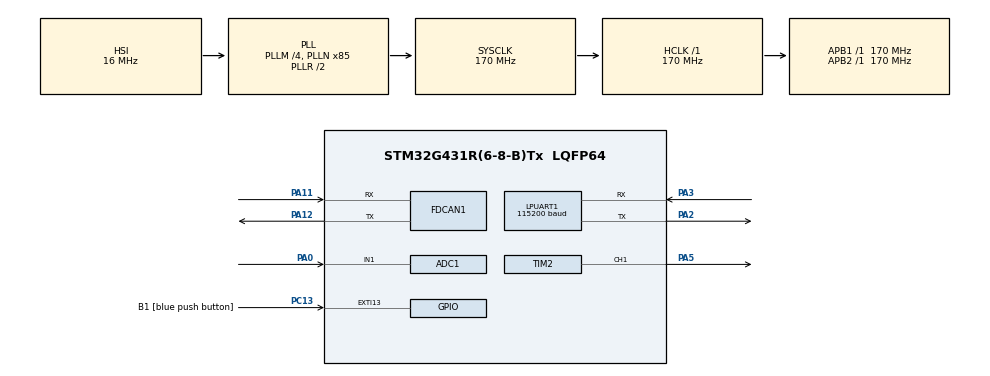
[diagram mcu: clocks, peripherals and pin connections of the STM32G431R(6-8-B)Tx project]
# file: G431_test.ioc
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ADC1.Channel-0\#ChannelRegularConversion=ADC_CHANNEL_1
ADC1.ClockPrescaler=ADC_CLOCK_ASYNC_DIV4
ADC1.ContinuousConvMode=ENABLE
ADC1.DMAContinuousRequests=ENABLE
ADC1.DataAlign=ADC_DATAALIGN_RIGHT
ADC1.EOCSelection=ADC_EOC_SINGLE_CONV
ADC1.LowPowerAutoWait=DISABLE
ADC1.NbrOfConversion=1
ADC1.NbrOfConversionFlag=1
ADC1.OffsetNumber-0\#ChannelRegularConversion=ADC_OFFSET_NONE
ADC1.OversamplingMode=DISABLE
ADC1.Rank-0\#ChannelRegularConversion=1
ADC1.SamplingTime-0\#ChannelRegularConversion=ADC_SAMPLETIME_92CYCLES_5
ADC1.master=1
Dma.ADC1.0.Direction=DMA_PERIPH_TO_MEMORY
Dma.ADC1.0.EventEnable=DISABLE
Dma.ADC1.0.Instance=DMA1_Channel1
Dma.ADC1.0.MemDataAlignment=DMA_MDATAALIGN_HALFWORD
Dma.ADC1.0.MemInc=DMA_MINC_ENABLE
Dma.ADC1.0.Mode=DMA_CIRCULAR
Dma.ADC1.0.PeriphDataAlignment=DMA_PDATAALIGN_HALFWORD
Dma.ADC1.0.PeriphInc=DMA_PINC_DISABLE
Dma.ADC1.0.Polarity=HAL_DMAMUX_REQ_GEN_RISING
Dma.ADC1.0.Priority=DMA_PRIORITY_LOW
Dma.ADC1.0.RequestNumber=1
Dma.ADC1.0.SignalID=NONE
Dma.ADC1.0.SyncEnable=DISABLE
Dma.ADC1.0.SyncPolarity=HAL_DMAMUX_SYNC_NO_EVENT
Dma.ADC1.0.SyncRequestNumber=1
Dma.ADC1.0.SyncSignalID=NONE
Dma.Request0=ADC1
FDCAN1.ClockDivider=FDCAN_CLOCK_DIV1
FDCAN1.DataTimeSeg1=11
FDCAN1.DataTimeSeg2=4
FDCAN1.Mode=FDCAN_MODE_EXTERNAL_LOOPBACK
FDCAN1.NominalPrescaler=6
LPUART1.BaudRate=115200
LPUART1.WordLength=UART_WORDLENGTH_8B
Mcu.Family=STM32G4
Mcu.Name=STM32G431R(6-8-B)Tx
Mcu.Package=LQFP64
NVIC.DMA1_Channel1_IRQn=true\:1\:0\:true\:false\:true\:false\:true
NVIC.FDCAN1_IT0_IRQn=true\:2\:0\:true\:false\:true\:true\:true
NVIC.FDCAN1_IT1_IRQn=true\:3\:0\:true\:false\:true\:true\:true
NVIC.PriorityGroup=NVIC_PRIORITYGROUP_4
PA0.Mode=IN1-Single-Ended
PA0.Signal=ADC1_IN1
PA11.Mode=FDCANFD
PA11.Signal=FDCAN1_RX
PA12.Mode=FDCANFD
PA12.Signal=FDCAN1_TX
PA13.GPIO_Label=T_SWDIO
PA13.Mode=Serial_Wire
PA13.Signal=SYS_JTMS-SWDIO
PA14.GPIO_Label=T_SWCLK
PA14.Mode=Serial_Wire
PA14.Signal=SYS_JTCK-SWCLK
PA2.Mode=Asynchronous
PA2.Signal=LPUART1_TX
PA3.Mode=Asynchronous
PA3.Signal=LPUART1_RX
PA5.Signal=S_TIM2_CH1
PB3.GPIO_Label=T_SWO
PB3.Signal=SYS_JTDO-SWO
PC13.GPIO_Label=B1 [blue push button]
PC13.Signal=GPXTI13
PC14-OSC32_IN.Mode=LSE-External-Oscillator
PC14-OSC32_IN.Signal=RCC_OSC32_IN
PC15-OSC32_OUT.Mode=LSE-External-Oscillator
PC15-OSC32_OUT.Signal=RCC_OSC32_OUT
PC4.GPIO_Label=USART1_TX [STLINKV3E_VCP_RX]
PC4.Signal=USART1_TX
PC5.GPIO_Label=USART1_RX [STLINKV3E_VCP_TX]
PC5.Signal=USART1_RX
PF0-OSC_IN.Mode=HSE-External-Oscillator
PF0-OSC_IN.Signal=RCC_OSC_IN
PF1-OSC_OUT.Mode=HSE-External-Oscillator
PF1-OSC_OUT.Signal=RCC_OSC_OUT
ProjectManager.HeapSize=0x200
ProjectManager.StackSize=0x400
ProjectManager.TargetToolchain=STM32CubeIDE
RCC.ADC12Freq_Value=170000000
RCC.AHBFreq_Value=170000000
RCC.APB1Freq_Value=170000000
RCC.APB1TimFreq_Value=170000000
RCC.APB2Freq_Value=170000000
RCC.APB2TimFreq_Value=170000000
RCC.CortexFreq_Value=170000000
RCC.EXTERNAL_CLOCK_VALUE=12288000
RCC.HCLKFreq_Value=170000000
RCC.HSE_VALUE=24000000
RCC.HSI48_VALUE=48000000
RCC.HSI_VALUE=16000000
RCC.PLLM=RCC_PLLM_DIV4
RCC.PLLN=85
RCC.RTCClockSelection=RCC_RTCCLKSOURCE_LSE
RCC.SYSCLKFreq_VALUE=170000000
RCC.SYSCLKSource=RCC_SYSCLKSOURCE_PLLCLK
RCC.USBFreq_Value=170000000
RCC.VCOOutputFreq_Value=340000000
SH.S_TIM2_CH1.0=TIM2_CH1,PWM Generation1 CH1
TIM2.Channel-PWM\ Generation1\ CH1=TIM_CHANNEL_1
TIM2.PeriodNoDither=1000
TIM2.Prescaler=20
VP_CORDIC_VS_CORDIC.Mode=CORDIC_Activate
VP_SYS_VS_DBSignals.Mode=DisableDeadBatterySignals
board=NUCLEO-G431RB

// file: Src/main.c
/* USER CODE BEGIN Header */
/**
  ******************************************************************************
  * @file           : main.c
  * @brief          : Main program body
  ******************************************************************************
  * @attention
  *
  * <h2><center>&copy; Copyright (c) 2019 STMicroelectronics.
  * All rights reserved.</center></h2>
  *
  * This software component is licensed by ST under BSD 3-Clause license,
  * the "License"; You may not use this file except in compliance with the
  * License. You may obtain a copy of the License at:
  *                        opensource.org/licenses/BSD-3-Clause
  *
  ******************************************************************************
  */
/* USER CODE END Header */

#include "main.h"

/* USER CODE BEGIN Includes */
#include "xprintf.h"
#include "microsectimer.h"
/* USER CODE END Includes */

ADC_HandleTypeDef hadc1;
DMA_HandleTypeDef hdma_adc1;

CORDIC_HandleTypeDef hcordic;

FDCAN_HandleTypeDef hfdcan1;

UART_HandleTypeDef hlpuart1;

TIM_HandleTypeDef htim2;

void SystemClock_Config(void);
static void MX_GPIO_Init(void);
static void MX_DMA_Init(void);
static void MX_FDCAN1_Init(void);
static void MX_TIM2_Init(void);
static void MX_ADC1_Init(void);
static void MX_CORDIC_Init(void);
static void MX_LPUART1_UART_Init(void);

/* USER CODE BEGIN 0 */
ADC_MultiModeTypeDef multimode = {0};
ADC_AnalogWDGConfTypeDef AnalogWDGConfig = {0};
ADC_ChannelConfTypeDef sConfig = {0};

TIM_MasterConfigTypeDef sMasterConfig = {0};
TIM_OC_InitTypeDef sConfigOC = {0};

uint16_t ADCdata[1];

FDCAN_TxHeaderTypeDef TxHeader;
FDCAN_RxHeaderTypeDef RxHeader;
uint8_t               TxData[50];
uint8_t               RxData[50];
uint32_t              TxMailbox;
uint8_t cnt;
void HAL_FDCAN_RxFifo0Callback(FDCAN_HandleTypeDef *hfdcan, uint32_t RxFifo0ITs)
{
   if (HAL_FDCAN_GetRxMessage(hfdcan, FDCAN_RX_FIFO0, &RxHeader, RxData) != HAL_OK)
    {
    Error_Handler();
    }
    xprintf(" id=%x 0=%d 1=%d 2=%d 3=%d 4=%d 5=%d 6=%d 7=%d 8=%d 9=%d 10=%d 11=%d 12=%d 13=%d 14=%d 15=%d 16=%d 17=%d"
    		" 18=%d 19=%d 20=%d 21=%d 22=%d 23=%d 24=%d 25=%d 26=%d 27=%d 28=%d 29=%d 30=%d 31=%d"
    		"\r\n",RxHeader.Identifier,RxData[0],RxData[1],RxData[2],RxData[3],RxData[4],RxData[5]
			,RxData[6],RxData[7],RxData[8],RxData[9],RxData[10],RxData[11],RxData[12],RxData[13],RxData[14]
			,RxData[15],RxData[16],RxData[17],RxData[18],RxData[19],RxData[20],RxData[21],RxData[22],RxData[23]
	        ,RxData[24],RxData[25],RxData[26],RxData[27],RxData[28],RxData[29],RxData[30],RxData[31]);
}
/* USER CODE END 0 */

int main(void)
{

  /* MCU Configuration--------------------------------------------------------*/

  /* Reset of all peripherals, Initializes the Flash interface and the Systick. */
  HAL_Init();

  /* Configure the system clock */
  SystemClock_Config();

  /* Initialize all configured peripherals */
  MX_GPIO_Init();
  MX_DMA_Init();
  MX_FDCAN1_Init();
  MX_TIM2_Init();
  MX_ADC1_Init();
  MX_CORDIC_Init();
  MX_LPUART1_UART_Init();
  /* USER CODE BEGIN 2 */

  init_xprintf(&hlpuart1);

  if (HAL_ADC_Init(&hadc1) != HAL_OK)
      {
    	  Error_Handler();
      }
      if (HAL_ADC_ConfigChannel(&hadc1, &sConfig) != HAL_OK)
      {
    	  Error_Handler();
      }
       if (HAL_ADC_Start_DMA(&hadc1, (uint32_t *)ADCdata,1) != HAL_OK)
       {
          Error_Handler();
       }

       if (HAL_FDCAN_ActivateNotification(&hfdcan1, FDCAN_IT_RX_FIFO0_NEW_MESSAGE, 0) != HAL_OK)
         {
           Error_Handler();
         }
       HAL_FDCAN_Start(&hfdcan1);

  /* USER CODE END 2 */

  /* Infinite loop */
  while (1)
  {

    /* USER CODE BEGIN 3 */

	  sConfigOC.Pulse = 200;
	  if (HAL_TIM_PWM_ConfigChannel(&htim2, &sConfigOC, TIM_CHANNEL_1) != HAL_OK)
	  {
		  Error_Handler();
	  }
	  if (HAL_TIM_PWM_Start(&htim2, TIM_CHANNEL_1) != HAL_OK)
	  {
		  Error_Handler();
	  }
	  HAL_Delay(50);
	  sConfigOC.Pulse = 800;
	  if (HAL_TIM_PWM_ConfigChannel(&htim2, &sConfigOC, TIM_CHANNEL_1) != HAL_OK)
	  {
		  Error_Handler();
	  }
	  if (HAL_TIM_PWM_Start(&htim2, TIM_CHANNEL_1) != HAL_OK)
  	  {
		  Error_Handler();
  	  }
	  HAL_Delay(50);

	  	TxHeader.Identifier = 0x123;
	    TxHeader.IdType = FDCAN_STANDARD_ID;
	    TxHeader.TxFrameType = FDCAN_DATA_FRAME;
	    TxHeader.DataLength = FDCAN_DLC_BYTES_32;
	    TxHeader.ErrorStateIndicator = FDCAN_ESI_ACTIVE;
	    TxHeader.BitRateSwitch = FDCAN_BRS_ON;
	    TxHeader.FDFormat = FDCAN_FD_CAN;
	    TxHeader.TxEventFifoControl = FDCAN_STORE_TX_EVENTS;
	    TxHeader.MessageMarker = 0x52;

	    TxData[0] = 0x11;
	    TxData[1] = 0x12;
	    TxData[2] = 0x13;
	    TxData[3] = 0x14;
	    TxData[4] = 0x15;
	    TxData[5] = 0x16;
	    TxData[6] = 0x17;
	    TxData[7] = 0x18;
	    TxData[8] = 0x19;
	    TxData[9] = 0x10;
	    TxData[10] = 0x11;
	    TxData[11] = 0x12;
	    TxData[12] = 0x13;
	    TxData[13] = 0x14;
	    TxData[14] = 0x15;
	    TxData[15] = 0x16;
	    TxData[16] = 0x17;
	    TxData[17] = 0x18;
	    TxData[18] = 0x19;
	    TxData[19] = 0x20;
	    TxData[20] = 0x21;
	    TxData[21] = 0x22;
	    TxData[22] = 0x23;
	    TxData[23] = 0x24;
	    TxData[24] = 0x25;
	    TxData[25] = 0x26;
	    TxData[26] = 0x27;
	    TxData[27] = 0x28;
	    TxData[28] = 0x29;
	    TxData[29] = 0x30;
	    TxData[30] = 0x31;
	    TxData[31] = cnt;

	    if (HAL_FDCAN_AddMessageToTxFifoQ(&hfdcan1, &TxHeader, TxData) != HAL_OK)
	  	  	  {
	  	  	    Error_Handler();
	  	  	  }

	  	 if(cnt>250){
	  		 cnt=0;
	  	 }
	  	 else{
	  		 cnt++;
	  	 }

  }
  /* USER CODE END 3 */
}

void SystemClock_Config(void)
{
  RCC_OscInitTypeDef RCC_OscInitStruct = {0};
  RCC_ClkInitTypeDef RCC_ClkInitStruct = {0};
  RCC_PeriphCLKInitTypeDef PeriphClkInit = {0};

  /** Configure the main internal regulator output voltage
  */
  HAL_PWREx_ControlVoltageScaling(PWR_REGULATOR_VOLTAGE_SCALE1_BOOST);
  /** Initializes the CPU, AHB and APB busses clocks
  */
  RCC_OscInitStruct.OscillatorType = RCC_OSCILLATORTYPE_HSI;
  RCC_OscInitStruct.HSIState = RCC_HSI_ON;
  RCC_OscInitStruct.HSICalibrationValue = RCC_HSICALIBRATION_DEFAULT;
  RCC_OscInitStruct.PLL.PLLState = RCC_PLL_ON;
  RCC_OscInitStruct.PLL.PLLSource = RCC_PLLSOURCE_HSI;
  RCC_OscInitStruct.PLL.PLLM = RCC_PLLM_DIV4;
  RCC_OscInitStruct.PLL.PLLN = 85;
  RCC_OscInitStruct.PLL.PLLP = RCC_PLLP_DIV2;
  RCC_OscInitStruct.PLL.PLLQ = RCC_PLLQ_DIV2;
  RCC_OscInitStruct.PLL.PLLR = RCC_PLLR_DIV2;
  if (HAL_RCC_OscConfig(&RCC_OscInitStruct) != HAL_OK)
  {
    Error_Handler();
  }
  /** Initializes the CPU, AHB and APB busses clocks
  */
  RCC_ClkInitStruct.ClockType = RCC_CLOCKTYPE_HCLK|RCC_CLOCKTYPE_SYSCLK
                              |RCC_CLOCKTYPE_PCLK1|RCC_CLOCKTYPE_PCLK2;
  RCC_ClkInitStruct.SYSCLKSource = RCC_SYSCLKSOURCE_PLLCLK;
  RCC_ClkInitStruct.AHBCLKDivider = RCC_SYSCLK_DIV1;
  RCC_ClkInitStruct.APB1CLKDivider = RCC_HCLK_DIV1;
  RCC_ClkInitStruct.APB2CLKDivider = RCC_HCLK_DIV1;

  if (HAL_RCC_ClockConfig(&RCC_ClkInitStruct, FLASH_LATENCY_8) != HAL_OK)
  {
    Error_Handler();
  }
  /** Initializes the peripherals clocks
  */
  PeriphClkInit.PeriphClockSelection = RCC_PERIPHCLK_LPUART1|RCC_PERIPHCLK_ADC12
                              |RCC_PERIPHCLK_FDCAN;
  PeriphClkInit.Lpuart1ClockSelection = RCC_LPUART1CLKSOURCE_PCLK1;
  PeriphClkInit.FdcanClockSelection = RCC_FDCANCLKSOURCE_PCLK1;
  PeriphClkInit.Adc12ClockSelection = RCC_ADC12CLKSOURCE_SYSCLK;
  if (HAL_RCCEx_PeriphCLKConfig(&PeriphClkInit) != HAL_OK)
  {
    Error_Handler();
  }
}

static void MX_ADC1_Init(void)
{

  /** Common config
  */
  hadc1.Instance = ADC1;
  hadc1.Init.ClockPrescaler = ADC_CLOCK_ASYNC_DIV4;
  hadc1.Init.Resolution = ADC_RESOLUTION_12B;
  hadc1.Init.DataAlign = ADC_DATAALIGN_RIGHT;
  hadc1.Init.GainCompensation = 0;
  hadc1.Init.ScanConvMode = ADC_SCAN_DISABLE;
  hadc1.Init.EOCSelection = ADC_EOC_SINGLE_CONV;
  hadc1.Init.LowPowerAutoWait = DISABLE;
  hadc1.Init.ContinuousConvMode = ENABLE;
  hadc1.Init.NbrOfConversion = 1;
  hadc1.Init.DiscontinuousConvMode = DISABLE;
  hadc1.Init.ExternalTrigConv = ADC_SOFTWARE_START;
  hadc1.Init.ExternalTrigConvEdge = ADC_EXTERNALTRIGCONVEDGE_NONE;
  hadc1.Init.DMAContinuousRequests = ENABLE;
  hadc1.Init.Overrun = ADC_OVR_DATA_PRESERVED;
  hadc1.Init.OversamplingMode = DISABLE;
  if (HAL_ADC_Init(&hadc1) != HAL_OK)
  {
    Error_Handler();
  }
  /** Configure the ADC multi-mode
  */
  multimode.Mode = ADC_MODE_INDEPENDENT;
  if (HAL_ADCEx_MultiModeConfigChannel(&hadc1, &multimode) != HAL_OK)
  {
    Error_Handler();
  }
  /** Configure Regular Channel
  */
  sConfig.Channel = ADC_CHANNEL_1;
  sConfig.Rank = ADC_REGULAR_RANK_1;
  sConfig.SamplingTime = ADC_SAMPLETIME_92CYCLES_5;
  sConfig.SingleDiff = ADC_SINGLE_ENDED;
  sConfig.OffsetNumber = ADC_OFFSET_NONE;
  sConfig.Offset = 0;
  if (HAL_ADC_ConfigChannel(&hadc1, &sConfig) != HAL_OK)
  {
    Error_Handler();
  }

}

static void MX_CORDIC_Init(void)
{

  hcordic.Instance = CORDIC;
  if (HAL_CORDIC_Init(&hcordic) != HAL_OK)
  {
    Error_Handler();
  }

}

static void MX_FDCAN1_Init(void)
{

  hfdcan1.Instance = FDCAN1;
  hfdcan1.Init.ClockDivider = FDCAN_CLOCK_DIV1;
  hfdcan1.Init.FrameFormat = FDCAN_FRAME_FD_NO_BRS;
  hfdcan1.Init.Mode = FDCAN_MODE_EXTERNAL_LOOPBACK;
  hfdcan1.Init.AutoRetransmission = DISABLE;
  hfdcan1.Init.TransmitPause = ENABLE;
  hfdcan1.Init.ProtocolException = DISABLE;
  hfdcan1.Init.NominalPrescaler = 1;
  hfdcan1.Init.NominalSyncJumpWidth = 16;
  hfdcan1.Init.NominalTimeSeg1 = 63;
  hfdcan1.Init.NominalTimeSeg2 = 16;
  hfdcan1.Init.DataPrescaler = 10;
  hfdcan1.Init.DataSyncJumpWidth = 4;
  hfdcan1.Init.DataTimeSeg1 = 14;
  hfdcan1.Init.DataTimeSeg2 = 2;
  hfdcan1.Init.StdFiltersNbr = 1;
  hfdcan1.Init.ExtFiltersNbr = 1;
  hfdcan1.Init.TxFifoQueueMode = FDCAN_TX_FIFO_OPERATION;
  if (HAL_FDCAN_Init(&hfdcan1) != HAL_OK)
  {
    Error_Handler();
  }
  /* USER CODE BEGIN FDCAN1_Init 2 */
  FDCAN_FilterTypeDef sFilterConfig;
  sFilterConfig.IdType = FDCAN_STANDARD_ID;
    sFilterConfig.FilterIndex = 0;
    sFilterConfig.FilterType = FDCAN_FILTER_DUAL;
    sFilterConfig.FilterConfig = FDCAN_FILTER_TO_RXFIFO0;
    sFilterConfig.FilterID1 = 0x123;
    sFilterConfig.FilterID2 = 0x123;
    if (HAL_FDCAN_ConfigFilter(&hfdcan1, &sFilterConfig) != HAL_OK)
    {
      Error_Handler();
    }

    /* Configure extended ID reception filter to Rx FIFO 1 */
    sFilterConfig.IdType = FDCAN_EXTENDED_ID;
    sFilterConfig.FilterIndex = 0;
    sFilterConfig.FilterType = FDCAN_FILTER_RANGE_NO_EIDM;
    sFilterConfig.FilterConfig = FDCAN_FILTER_TO_RXFIFO1;
    sFilterConfig.FilterID1 = 0x1111111;
    sFilterConfig.FilterID2 = 0x2222222;
    if (HAL_FDCAN_ConfigFilter(&hfdcan1, &sFilterConfig) != HAL_OK)
    {
      Error_Handler();
    }

    /* Configure global filter:
       Filter all remote frames with STD and EXT ID
       Reject non matching frames with STD ID and EXT ID */
    if (HAL_FDCAN_ConfigGlobalFilter(&hfdcan1, FDCAN_REJECT, FDCAN_REJECT, FDCAN_FILTER_REMOTE, FDCAN_FILTER_REMOTE) != HAL_OK)
    {
      Error_Handler();
    }

    /*##-2 Start FDCAN controller (continuous listening CAN bus) ##############*/
    if (HAL_FDCAN_Start(&hfdcan1) != HAL_OK)
    {
      Error_Handler();
    }

  /* USER CODE END FDCAN1_Init 2 */

}

static void MX_LPUART1_UART_Init(void)
{

  hlpuart1.Instance = LPUART1;
  hlpuart1.Init.BaudRate = 115200;
  hlpuart1.Init.WordLength = UART_WORDLENGTH_8B;
  hlpuart1.Init.StopBits = UART_STOPBITS_1;
  hlpuart1.Init.Parity = UART_PARITY_NONE;
  hlpuart1.Init.Mode = UART_MODE_TX_RX;
  hlpuart1.Init.HwFlowCtl = UART_HWCONTROL_NONE;
  hlpuart1.Init.OneBitSampling = UART_ONE_BIT_SAMPLE_DISABLE;
  hlpuart1.AdvancedInit.AdvFeatureInit = UART_ADVFEATURE_NO_INIT;
  if (HAL_UART_Init(&hlpuart1) != HAL_OK)
  {
    Error_Handler();
  }
  if (HAL_UARTEx_SetTxFifoThreshold(&hlpuart1, UART_TXFIFO_THRESHOLD_1_8) != HAL_OK)
  {
    Error_Handler();
  }
  if (HAL_UARTEx_SetRxFifoThreshold(&hlpuart1, UART_RXFIFO_THRESHOLD_1_8) != HAL_OK)
  {
    Error_Handler();
  }
  if (HAL_UARTEx_DisableFifoMode(&hlpuart1) != HAL_OK)
  {
    Error_Handler();
  }

}

static void MX_TIM2_Init(void)
{

  htim2.Instance = TIM2;
  htim2.Init.Prescaler = 20;
  htim2.Init.CounterMode = TIM_COUNTERMODE_UP;
  htim2.Init.Period = 1000;
  htim2.Init.ClockDivision = TIM_CLOCKDIVISION_DIV1;
  htim2.Init.AutoReloadPreload = TIM_AUTORELOAD_PRELOAD_DISABLE;
  if (HAL_TIM_PWM_Init(&htim2) != HAL_OK)
  {
    Error_Handler();
  }
  sMasterConfig.MasterOutputTrigger = TIM_TRGO_RESET;
  sMasterConfig.MasterSlaveMode = TIM_MASTERSLAVEMODE_DISABLE;
  if (HAL_TIMEx_MasterConfigSynchronization(&htim2, &sMasterConfig) != HAL_OK)
  {
    Error_Handler();
  }
  sConfigOC.OCMode = TIM_OCMODE_PWM1;
  sConfigOC.Pulse = 0;
  sConfigOC.OCPolarity = TIM_OCPOLARITY_HIGH;
  sConfigOC.OCFastMode = TIM_OCFAST_DISABLE;
  if (HAL_TIM_PWM_ConfigChannel(&htim2, &sConfigOC, TIM_CHANNEL_1) != HAL_OK)
  {
    Error_Handler();
  }
  HAL_TIM_MspPostInit(&htim2);

}

static void MX_DMA_Init(void)
{

  /* DMA controller clock enable */
  __HAL_RCC_DMAMUX1_CLK_ENABLE();
  __HAL_RCC_DMA1_CLK_ENABLE();

  /* DMA interrupt init */
  /* DMA1_Channel1_IRQn interrupt configuration */
  HAL_NVIC_SetPriority(DMA1_Channel1_IRQn, 1, 0);
  HAL_NVIC_EnableIRQ(DMA1_Channel1_IRQn);

}

static void MX_GPIO_Init(void)
{
  GPIO_InitTypeDef GPIO_InitStruct = {0};

  /* GPIO Ports Clock Enable */
  __HAL_RCC_GPIOC_CLK_ENABLE();
  __HAL_RCC_GPIOF_CLK_ENABLE();
  __HAL_RCC_GPIOA_CLK_ENABLE();
  __HAL_RCC_GPIOB_CLK_ENABLE();

  /*Configure GPIO pin : B1_Pin */
  GPIO_InitStruct.Pin = B1_Pin;
  GPIO_InitStruct.Mode = GPIO_MODE_IT_RISING;
  GPIO_InitStruct.Pull = GPIO_NOPULL;
  HAL_GPIO_Init(B1_GPIO_Port, &GPIO_InitStruct);

  /*Configure GPIO pins : USART1_TX_Pin USART1_RX_Pin */
  GPIO_InitStruct.Pin = USART1_TX_Pin|USART1_RX_Pin;
  GPIO_InitStruct.Mode = GPIO_MODE_AF_PP;
  GPIO_InitStruct.Pull = GPIO_NOPULL;
  GPIO_InitStruct.Speed = GPIO_SPEED_FREQ_LOW;
  GPIO_InitStruct.Alternate = GPIO_AF7_USART1;
  HAL_GPIO_Init(GPIOC, &GPIO_InitStruct);

}

void Error_Handler(void)
{
}

/************************ (C) COPYRIGHT STMicroelectronics *****END OF FILE****/
